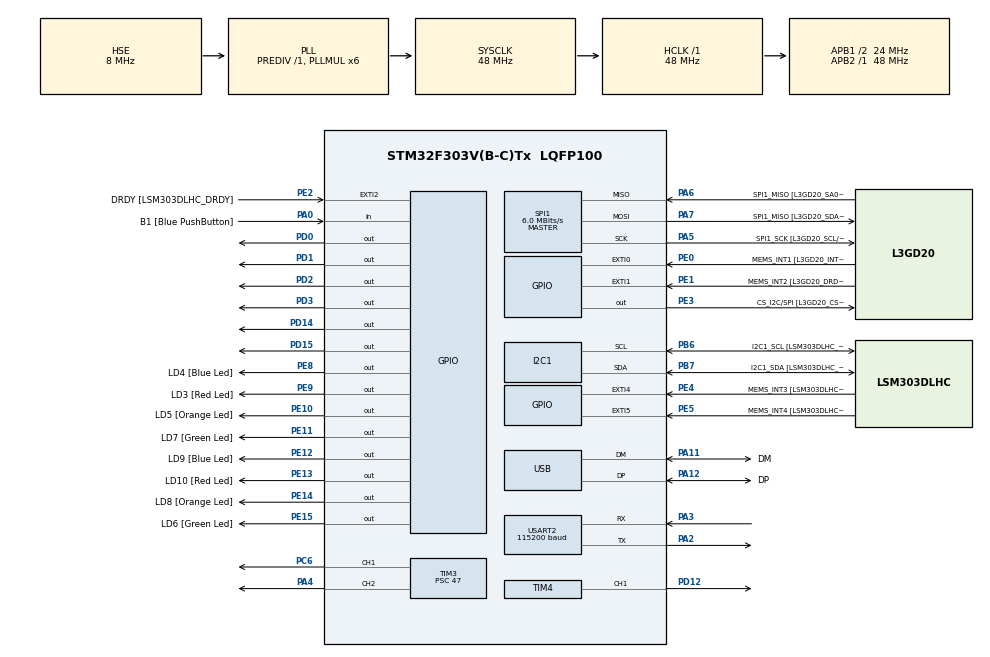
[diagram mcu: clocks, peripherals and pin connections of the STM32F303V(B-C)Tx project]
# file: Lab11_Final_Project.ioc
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I2C1.Timing=0x00201D2B
I2C1.Timing-I2C=0x2000090E
Mcu.Family=STM32F3
Mcu.Name=STM32F303V(B-C)Tx
Mcu.Package=LQFP100
NVIC.PriorityGroup=NVIC_PRIORITYGROUP_0
NVIC.TIM2_IRQn=true\:0\:0\:false\:false\:true\:true\:true\:true
NVIC.TIM3_IRQn=true\:0\:0\:false\:false\:true\:true\:true\:true
PA0.GPIO_Label=B1 [Blue PushButton]
PA0.Signal=GPIO_Input
PA11.GPIO_Label=DM
PA11.Mode=Device
PA11.Signal=USB_DM
PA12.GPIO_Label=DP
PA12.Mode=Device
PA12.Signal=USB_DP
PA13.GPIO_Label=SWDIO
PA13.Mode=Serial_Wire
PA13.Signal=SYS_JTMS-SWDIO
PA14.GPIO_Label=SWCLK
PA14.Mode=Serial_Wire
PA14.Signal=SYS_JTCK-SWCLK
PA2.Mode=Asynchronous
PA2.Signal=USART2_TX
PA3.Mode=Asynchronous
PA3.Signal=USART2_RX
PA4.Signal=S_TIM3_CH2
PA5.GPIO_Label=SPI1_SCK [L3GD20_SCL/SPC]
PA5.Mode=Full_Duplex_Master
PA5.Signal=SPI1_SCK
PA6.GPIO_Label=SPI1_MISO [L3GD20_SA0/SDO]
PA6.Mode=Full_Duplex_Master
PA6.Signal=SPI1_MISO
PA7.GPIO_Label=SPI1_MISO [L3GD20_SDA/SDI/SDO]
PA7.Mode=Full_Duplex_Master
PA7.Signal=SPI1_MOSI
PB3.GPIO_Label=SWO
PB3.Signal=SYS_JTDO-TRACESWO
PB6.GPIO_Label=I2C1_SCL [LSM303DLHC_SCL]
PB6.GPIO_Pu=GPIO_PULLUP
PB6.Mode=I2C
PB6.Signal=I2C1_SCL
PB7.GPIO_Label=I2C1_SDA [LSM303DLHC_SDA]
PB7.GPIO_Pu=GPIO_PULLUP
PB7.Mode=I2C
PB7.Signal=I2C1_SDA
PC14-OSC32_IN.GPIO_Label=OSC32_IN
PC14-OSC32_IN.Signal=RCC_OSC32_IN
PC15-OSC32_OUT.GPIO_Label=OSC32_OUT
PC15-OSC32_OUT.Signal=RCC_OSC32_OUT
PC6.Signal=S_TIM3_CH1
PD0.Signal=GPIO_Output
PD1.Signal=GPIO_Output
PD12.Signal=S_TIM4_CH1
PD14.Signal=GPIO_Output
PD15.Signal=GPIO_Output
PD2.Signal=GPIO_Output
PD3.Signal=GPIO_Output
PE0.GPIO_Label=MEMS_INT1 [L3GD20_INT1]
PE0.GPIO_ModeDefaultEXTI=GPIO_MODE_EVT_RISING
PE0.Signal=GPXTI0
PE1.GPIO_Label=MEMS_INT2 [L3GD20_DRDY/INT2]
PE1.GPIO_ModeDefaultEXTI=GPIO_MODE_EVT_RISING
PE1.Signal=GPXTI1
PE10.GPIO_Label=LD5 [Orange Led]
PE10.Signal=GPIO_Output
PE11.GPIO_Label=LD7 [Green Led]
PE11.Signal=GPIO_Output
PE12.GPIO_Label=LD9 [Blue Led]
PE12.Signal=GPIO_Output
PE13.GPIO_Label=LD10 [Red Led]
PE13.Signal=GPIO_Output
PE14.GPIO_Label=LD8 [Orange Led]
PE14.Signal=GPIO_Output
PE15.GPIO_Label=LD6 [Green Led]
PE15.Signal=GPIO_Output
PE2.GPIO_Label=DRDY [LSM303DLHC_DRDY]
PE2.GPIO_ModeDefaultEXTI=GPIO_MODE_EVT_RISING
PE2.Signal=GPXTI2
PE3.GPIO_Label=CS_I2C/SPI [L3GD20_CS_I2C/SPI]
PE3.Signal=GPIO_Output
PE4.GPIO_Label=MEMS_INT3 [LSM303DLHC_INT1]
PE4.GPIO_ModeDefaultEXTI=GPIO_MODE_EVT_RISING
PE4.Signal=GPXTI4
PE5.GPIO_Label=MEMS_INT4 [LSM303DLHC_INT2]
PE5.GPIO_ModeDefaultEXTI=GPIO_MODE_EVT_RISING
PE5.Signal=GPXTI5
PE8.GPIO_Label=LD4 [Blue Led]
PE8.Signal=GPIO_Output
PE9.GPIO_Label=LD3 [Red Led]
PE9.Signal=GPIO_Output
PF0-OSC_IN.GPIO_Label=OSC_IN
PF0-OSC_IN.Mode=HSE-External-Clock-Source
PF0-OSC_IN.Signal=RCC_OSC_IN
PF1-OSC_OUT.GPIO_Label=OSC_OUT
PF1-OSC_OUT.Signal=RCC_OSC_OUT
ProjectManager.HeapSize=0x200
ProjectManager.StackSize=0x400
ProjectManager.TargetToolchain=CMake
RCC.AHBFreq_Value=48000000
RCC.APB1CLKDivider=RCC_HCLK_DIV2
RCC.APB1Freq_Value=24000000
RCC.APB1TimFreq_Value=48000000
RCC.APB2Freq_Value=48000000
RCC.APB2TimFreq_Value=48000000
RCC.CortexFreq_Value=48000000
RCC.HCLKFreq_Value=48000000
RCC.HSE_VALUE=8000000
RCC.HSI_VALUE=8000000
RCC.LSE_VALUE=32768
RCC.PLLMUL=RCC_PLL_MUL6
RCC.SYSCLKFreq_VALUE=48000000
RCC.SYSCLKSourceVirtual=RCC_SYSCLKSOURCE_PLLCLK
RCC.USBFreq_Value=48000000
SH.S_TIM3_CH1.0=TIM3_CH1,PWM Generation1 CH1
SH.S_TIM3_CH2.0=TIM3_CH2,PWM Generation2 CH2
SH.S_TIM4_CH1.0=TIM4_CH1,PWM Generation1 CH1
SPI1.BaudRatePrescaler=SPI_BAUDRATEPRESCALER_8
SPI1.BaudRatePrescaler-Full_Duplex_Master=SPI_BAUDRATEPRESCALER_2
SPI1.CLKPhase=SPI_PHASE_2EDGE
SPI1.CLKPolarity=SPI_POLARITY_HIGH
SPI1.CalculateBaudRate=6.0 MBits/s
SPI1.CalculateBaudRate-Full_Duplex_Master=24.0 MBits/s
SPI1.DataSize=SPI_DATASIZE_8BIT
SPI1.Direction=SPI_DIRECTION_2LINES
SPI1.Mode=SPI_MODE_MASTER
SPI1.Mode-Full_Duplex_Master=SPI_MODE_MASTER
SPI1.VirtualType=VM_MASTER
TIM2.AutoReloadPreload=TIM_AUTORELOAD_PRELOAD_ENABLE
TIM2.Period=9999
TIM2.Prescaler=47
TIM3.Channel-PWM\ Generation1\ CH1=TIM_CHANNEL_1
TIM3.Channel-PWM\ Generation2\ CH2=TIM_CHANNEL_2
TIM3.Period=999
TIM3.Prescaler=47
TIM4.Channel-PWM\ Generation1\ CH1=TIM_CHANNEL_1
TIM4.Prescaler=720
USART2.BaudRate=115200
USART2.VirtualMode-Asynchronous=VM_ASYNC
VP_TIM2_VS_ClockSourceINT.Mode=Internal
VP_TIM3_VS_ClockSourceINT.Mode=Internal
board=STM32F3DISCOVERY

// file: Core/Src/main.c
/* USER CODE BEGIN Header */
/**
  ******************************************************************************
  * @file           : main.c
  * @brief          : Main program body
  ******************************************************************************
  * @attention
  *
  * Copyright (c) 2026 STMicroelectronics.
  * All rights reserved.
  *
  * This software is licensed under terms that can be found in the LICENSE file
  * in the root directory of this software component.
  * If no LICENSE file comes with this software, it is provided AS-IS.
  *
  ******************************************************************************
  */
/* USER CODE END Header */
#include "main.h"

/* USER CODE BEGIN Includes */
#include "stdio.h"
#include "string.h"
#include <math.h>
/* USER CODE END Includes */

/* USER CODE BEGIN PD */
#define LSM303_ACC_ADDR (0x19 << 1) // 0x32
#define LSM303_CTRL_REG1_A 0x20
#define LSM303_CTRL_REG4_A 0x23
#define LSM303_OUT_X_L_A 0x28

#define L3GD20_CTRL_REG1 0x20
#define L3GD20_CTRL_REG4 0x23
#define L3GD20_OUT_X_L 0x28
/* USER CODE END PD */

I2C_HandleTypeDef hi2c1;

SPI_HandleTypeDef hspi1;

TIM_HandleTypeDef htim2;
TIM_HandleTypeDef htim3;
TIM_HandleTypeDef htim4;

UART_HandleTypeDef huart2;

PCD_HandleTypeDef hpcd_USB_FS;

void SystemClock_Config(void);
static void MX_GPIO_Init(void);
static void MX_I2C1_Init(void);
static void MX_SPI1_Init(void);
static void MX_USB_PCD_Init(void);
static void MX_TIM2_Init(void);
static void MX_TIM3_Init(void);
static void MX_TIM4_Init(void);
static void MX_USART2_UART_Init(void);
float Kalman_GetAngle(float newAngle, float newRate, float dt);

/* USER CODE BEGIN 0 */

// Task 2
float Kp = 40.0f;
float Ki = 0.08f;
float Kd = 0.25f;

float setpoint = 0.0f;
float error, last_error, integral;
float pid_output;

// Task 1
typedef struct {
  int16_t ax, ay, az; // accelerometer raw data
  int16_t gx, gy, gz; // gyroscope raw data
  float acc_offset_x;
  float acc_offset_z;
} IMU_Data_t;

IMU_Data_t imu_data;

float gyro_bias_y = 0.0f;
float angle = 0.0f;
float dt = 0.01f;
float alpha = 0.98f;
float smooth_accel_angle = 0.0f;
float last_derivative = 0.0f;
float derivative_alpha = 0.9f;
float filtered_derivative = 0.0f;

// Kalman Filter Variables
// float Q_angle = 0.001f;   // Process noise variance for the angle
// float Q_bias = 0.003f;    // Process noise variance for the gyro bias
// float R_measure = 0.03f;  // Measurement noise variance (trust in accelerometer)

// float k_angle = 0.0f;     // Calculated angle
// float k_bias = 0.0f;      // Calculated gyro bias

float P[2][2] = {{0, 0}, {0, 0}};

void LSM303_WriteReg(uint8_t reg, uint8_t value) {
  uint8_t data[2] = {reg, value};
  HAL_I2C_Master_Transmit(&hi2c1, LSM303_ACC_ADDR, data, 2, 100);
}

void LSM303_ReadRegs(uint8_t reg, uint8_t* buffer, uint8_t len) {
  if (HAL_I2C_Master_Transmit(&hi2c1, LSM303_ACC_ADDR, &reg, 1, 100) != HAL_OK) return;
  HAL_I2C_Master_Receive(&hi2c1, LSM303_ACC_ADDR, buffer, len, 100);
}

void L3GD20_WriteReg(uint8_t reg, uint8_t value) {
  uint8_t data[2] = {reg, value};
  HAL_GPIO_WritePin(GPIOE, GPIO_PIN_3, GPIO_PIN_RESET);
  HAL_SPI_Transmit(&hspi1, data, 2, 100);
  HAL_GPIO_WritePin(GPIOE, GPIO_PIN_3, GPIO_PIN_SET);
}

void IMU_Read(IMU_Data_t* data) {
  uint8_t buffer[6];
  LSM303_ReadRegs(LSM303_OUT_X_L_A | 0x80, buffer, 6);
  data->ax = (int16_t)(buffer[1] << 8 | buffer[0]);
  data->ay = (int16_t)(buffer[3] << 8 | buffer[2]);
  data->az = (int16_t)(buffer[5] << 8 | buffer[4]);

  uint8_t reg = L3GD20_OUT_X_L | 0x80 | 0x40;
  HAL_GPIO_WritePin(GPIOE, GPIO_PIN_3, GPIO_PIN_RESET);
  HAL_SPI_Transmit(&hspi1, &reg, 1, 100);
  HAL_SPI_Receive(&hspi1, buffer, 6, 100);
  HAL_GPIO_WritePin(GPIOE, GPIO_PIN_3, GPIO_PIN_SET);
  data->gx = (int16_t)(buffer[1] << 8 | buffer[0]);
  data->gy = (int16_t)(buffer[3] << 8 | buffer[2]);
  data->gz = (int16_t)(buffer[5] << 8 | buffer[4]);
}

void IMU_Init(void) {
  // 1. Initialize Hardware Registers
  LSM303_WriteReg(LSM303_CTRL_REG1_A, 0x27);
  LSM303_WriteReg(LSM303_CTRL_REG4_A, 0x00);
  L3GD20_WriteReg(L3GD20_CTRL_REG1, 0x0F);
  L3GD20_WriteReg(L3GD20_CTRL_REG4, 0x00);

  HAL_Delay(500); // Let sensors settle

  // 2. Hardware Bias Calibration (Gyro & Accel Offsets)
  int32_t total_gx = 0;
  float sumX = 0, sumZ = 0;
  IMU_Data_t temp;

  for(int i = 0; i < 500; i++) {
    IMU_Read(&temp);
    total_gx += temp.gx;
    sumX += (float)temp.ax;
    sumZ += (float)temp.az;
    HAL_Delay(2);
  }

  gyro_bias_y = (float)total_gx / 500.0f;
  imu_data.acc_offset_x = (sumX / 500.0f);
  imu_data.acc_offset_z = (sumZ / 500.0f);

  // 3. Setpoint Sampling Phase
  // IMPORTANT: The user must hold the robot at the perfect balance point NOW.
  float total_angle = 0.0f;
  float current_angle = 0.0f;
  int sample_count = 500; // Sample for ~1 second

  for(int i = 0; i < sample_count; i++) {
    IMU_Read(&temp);

    // Calculate instantaneous angle using the same math as your ISR
    float gyro_rate = ((float)temp.gy - gyro_bias_y) * 0.00875f;
    float accX_g = ((float)temp.ax - imu_data.acc_offset_x) / 16384.0f;
    float accZ_g = ((float)temp.az - imu_data.acc_offset_z) / 16384.0f;
    float accel_angle = atan2f(accX_g, accZ_g) * 57.2958f;

    // Complementary Filter
    current_angle = alpha * (current_angle + gyro_rate * dt) + (1.0f - alpha) * accel_angle;

    total_angle += current_angle;
    HAL_Delay(2); // Match your dt roughly
  }

  setpoint = total_angle / (float)sample_count;

  // Initialize the global angle to the setpoint to prevent a jump at start
  angle = setpoint;
}

// Task 2
#define MOTOR_MIN 60
#define MOTOR_MAX 999
#define DEADBAND 0.4

void Control_Motors(float output) {
  float final_output = output;

  // Optimized Soft Deadzone
  if (fabsf(final_output) > 0.1f) {
      if (final_output > 0) final_output += MOTOR_MIN;
      else if (final_output < 0) final_output -= MOTOR_MIN;
  } else {
      final_output = 0;
  }

  // Constrain
  if (final_output > MOTOR_MAX) final_output = MOTOR_MAX;
  if (final_output < -MOTOR_MAX) final_output = -MOTOR_MAX;

  uint32_t pwm_val = (uint32_t)fabsf(final_output);
  __HAL_TIM_SET_COMPARE(&htim3, TIM_CHANNEL_1, pwm_val);
  __HAL_TIM_SET_COMPARE(&htim3, TIM_CHANNEL_2, pwm_val);

  // Direction Logic
  if (final_output >= 0) {
    HAL_GPIO_WritePin(GPIOD, GPIO_PIN_0, GPIO_PIN_RESET);
    HAL_GPIO_WritePin(GPIOD, GPIO_PIN_1, GPIO_PIN_SET);
    HAL_GPIO_WritePin(GPIOD, GPIO_PIN_2, GPIO_PIN_SET);
    HAL_GPIO_WritePin(GPIOD, GPIO_PIN_3, GPIO_PIN_RESET);
  } else {
    HAL_GPIO_WritePin(GPIOD, GPIO_PIN_0, GPIO_PIN_SET);
    HAL_GPIO_WritePin(GPIOD, GPIO_PIN_1, GPIO_PIN_RESET);
    HAL_GPIO_WritePin(GPIOD, GPIO_PIN_2, GPIO_PIN_RESET);
    HAL_GPIO_WritePin(GPIOD, GPIO_PIN_3, GPIO_PIN_SET);
  }
}

void HAL_TIM_PeriodElapsedCallback(TIM_HandleTypeDef* htim) {
  if (htim->Instance == TIM2) {
    IMU_Read(&imu_data);

    float gyro_rate = ((float)imu_data.gy - gyro_bias_y) * 0.00875f;
    float accX_g = ((float)imu_data.ax - imu_data.acc_offset_x) / 16384.0f;
    float accZ_g = ((float)imu_data.az - imu_data.acc_offset_z) / 16384.0f;
    float accel_angle = atan2f(accX_g, accZ_g) * 57.2958f;

    angle = alpha * (angle + gyro_rate * dt) + (1.0f - alpha) * accel_angle; // Complementary Filter
    // angle = Kalman_GetAngle(accel_angle, gyro_rate, dt); // Kalman Filter, checks every ms to either trust on Gyroscope or Accelerometer

    // Safety Fall-over Stop
    if (fabsf(angle) > 45.0f) {
      Control_Motors(0);
      integral = 0;
      return;
    }

    /* --- PID Calculation --- */
    error = setpoint - angle;

    // 1. Center Deadband (Stops the tiny jitters)
    if (fabsf(error) < DEADBAND) {
        error = 0;
        integral = 0;
    }

    // 2. Integral with anti-windup
    if (fabsf(error) < 5.0f && error != 0) {
        integral += error * dt;
    } else {
        integral = 0;
    }
    if (integral > 100.0f) integral = 100.0f;
    if (integral < -100.0f) integral = -100.0f;

    // 3. Smoothed Derivative
    float raw_derivative = (error - last_error) / dt;
    filtered_derivative = (derivative_alpha * last_derivative) + ((1.0f - derivative_alpha) * raw_derivative);

    pid_output = (Kp * error) + (Ki * integral) + (Kd * filtered_derivative);

    last_error = error;
    last_derivative = filtered_derivative;
    Control_Motors(pid_output);

    // char buffer[64];

    // int len = sprintf(buffer, "%.2f, %.2f, %.2f\r\n", angle, accel_angle, gyro_rate);
    // HAL_UART_Transmit(&huart2, (uint8_t*)buffer, len, 10);
  }
}

// float Kalman_GetAngle(float newAngle, float newRate, float dt) {
//     // Step 1: Predict
//     float rate = newRate - k_bias;
//     k_angle += dt * rate;

//     P[0][0] += dt * (dt * P[1][1] - P[0][1] - P[1][0] + Q_angle);
//     P[0][1] -= dt * P[1][1];
//     P[1][0] -= dt * P[1][1];
//     P[1][1] += Q_bias * dt;

//     // Step 2: Update (Correction)
//     float S = P[0][0] + R_measure;
//     float K[2]; // Kalman gain
//     K[0] = P[0][0] / S;
//     K[1] = P[1][0] / S;

//     float y = newAngle - k_angle; // Angle difference
//     k_angle += K[0] * y;
//     k_bias  += K[1] * y;

//     float P00_temp = P[0][0];
//     float P01_temp = P[0][1];

//     P[0][0] -= K[0] * P00_temp;
//     P[0][1] -= K[0] * P01_temp;
//     P[1][0] -= K[1] * P00_temp;
//     P[1][1] -= K[1] * P01_temp;

//     return k_angle;
// }

/* USER CODE END 0 */

int main(void)
{

  /* MCU Configuration--------------------------------------------------------*/

  /* Reset of all peripherals, Initializes the Flash interface and the Systick. */
  HAL_Init();

  /* Configure the system clock */
  SystemClock_Config();

  /* Initialize all configured peripherals */
  MX_GPIO_Init();
  MX_I2C1_Init();
  MX_SPI1_Init();
  MX_USB_PCD_Init();
  MX_TIM2_Init();
  MX_TIM3_Init();
  MX_TIM4_Init();
  MX_USART2_UART_Init();
  /* USER CODE BEGIN 2 */
  IMU_Init();

  /* Start timer interrupt */
  HAL_TIM_PWM_Start(&htim3, TIM_CHANNEL_1);
  HAL_TIM_PWM_Start(&htim3, TIM_CHANNEL_2);

  HAL_TIM_Base_Start_IT(&htim2);
  /* USER CODE END 2 */

  /* Infinite loop */
  while (1)
  {

  }
}

void SystemClock_Config(void)
{
  RCC_OscInitTypeDef RCC_OscInitStruct = {0};
  RCC_ClkInitTypeDef RCC_ClkInitStruct = {0};
  RCC_PeriphCLKInitTypeDef PeriphClkInit = {0};

  /** Initializes the RCC Oscillators according to the specified parameters
  * in the RCC_OscInitTypeDef structure.
  */
  RCC_OscInitStruct.OscillatorType = RCC_OSCILLATORTYPE_HSI|RCC_OSCILLATORTYPE_HSE;
  RCC_OscInitStruct.HSEState = RCC_HSE_BYPASS;
  RCC_OscInitStruct.HSEPredivValue = RCC_HSE_PREDIV_DIV1;
  RCC_OscInitStruct.HSIState = RCC_HSI_ON;
  RCC_OscInitStruct.HSICalibrationValue = RCC_HSICALIBRATION_DEFAULT;
  RCC_OscInitStruct.PLL.PLLState = RCC_PLL_ON;
  RCC_OscInitStruct.PLL.PLLSource = RCC_PLLSOURCE_HSE;
  RCC_OscInitStruct.PLL.PLLMUL = RCC_PLL_MUL6;
  if (HAL_RCC_OscConfig(&RCC_OscInitStruct) != HAL_OK)
  {
    Error_Handler();
  }

  /** Initializes the CPU, AHB and APB buses clocks
  */
  RCC_ClkInitStruct.ClockType = RCC_CLOCKTYPE_HCLK|RCC_CLOCKTYPE_SYSCLK
                              |RCC_CLOCKTYPE_PCLK1|RCC_CLOCKTYPE_PCLK2;
  RCC_ClkInitStruct.SYSCLKSource = RCC_SYSCLKSOURCE_PLLCLK;
  RCC_ClkInitStruct.AHBCLKDivider = RCC_SYSCLK_DIV1;
  RCC_ClkInitStruct.APB1CLKDivider = RCC_HCLK_DIV2;
  RCC_ClkInitStruct.APB2CLKDivider = RCC_HCLK_DIV1;

  if (HAL_RCC_ClockConfig(&RCC_ClkInitStruct, FLASH_LATENCY_1) != HAL_OK)
  {
    Error_Handler();
  }
  PeriphClkInit.PeriphClockSelection = RCC_PERIPHCLK_USB|RCC_PERIPHCLK_USART2
                              |RCC_PERIPHCLK_I2C1;
  PeriphClkInit.Usart2ClockSelection = RCC_USART2CLKSOURCE_PCLK1;
  PeriphClkInit.I2c1ClockSelection = RCC_I2C1CLKSOURCE_HSI;
  PeriphClkInit.USBClockSelection = RCC_USBCLKSOURCE_PLL;
  if (HAL_RCCEx_PeriphCLKConfig(&PeriphClkInit) != HAL_OK)
  {
    Error_Handler();
  }
}

static void MX_I2C1_Init(void)
{

  hi2c1.Instance = I2C1;
  hi2c1.Init.Timing = 0x00201D2B;
  hi2c1.Init.OwnAddress1 = 0;
  hi2c1.Init.AddressingMode = I2C_ADDRESSINGMODE_7BIT;
  hi2c1.Init.DualAddressMode = I2C_DUALADDRESS_DISABLE;
  hi2c1.Init.OwnAddress2 = 0;
  hi2c1.Init.OwnAddress2Masks = I2C_OA2_NOMASK;
  hi2c1.Init.GeneralCallMode = I2C_GENERALCALL_DISABLE;
  hi2c1.Init.NoStretchMode = I2C_NOSTRETCH_DISABLE;
  if (HAL_I2C_Init(&hi2c1) != HAL_OK)
  {
    Error_Handler();
  }

  /** Configure Analogue filter
  */
  if (HAL_I2CEx_ConfigAnalogFilter(&hi2c1, I2C_ANALOGFILTER_ENABLE) != HAL_OK)
  {
    Error_Handler();
  }

  /** Configure Digital filter
  */
  if (HAL_I2CEx_ConfigDigitalFilter(&hi2c1, 0) != HAL_OK)
  {
    Error_Handler();
  }

}

static void MX_SPI1_Init(void)
{

  /* SPI1 parameter configuration*/
  hspi1.Instance = SPI1;
  hspi1.Init.Mode = SPI_MODE_MASTER;
  hspi1.Init.Direction = SPI_DIRECTION_2LINES;
  hspi1.Init.DataSize = SPI_DATASIZE_8BIT;
  hspi1.Init.CLKPolarity = SPI_POLARITY_HIGH;
  hspi1.Init.CLKPhase = SPI_PHASE_2EDGE;
  hspi1.Init.NSS = SPI_NSS_SOFT;
  hspi1.Init.BaudRatePrescaler = SPI_BAUDRATEPRESCALER_8;
  hspi1.Init.FirstBit = SPI_FIRSTBIT_MSB;
  hspi1.Init.TIMode = SPI_TIMODE_DISABLE;
  hspi1.Init.CRCCalculation = SPI_CRCCALCULATION_DISABLE;
  hspi1.Init.CRCPolynomial = 7;
  hspi1.Init.CRCLength = SPI_CRC_LENGTH_DATASIZE;
  hspi1.Init.NSSPMode = SPI_NSS_PULSE_DISABLE;
  if (HAL_SPI_Init(&hspi1) != HAL_OK)
  {
    Error_Handler();
  }

}

static void MX_TIM2_Init(void)
{

  TIM_ClockConfigTypeDef sClockSourceConfig = {0};
  TIM_MasterConfigTypeDef sMasterConfig = {0};

  htim2.Instance = TIM2;
  htim2.Init.Prescaler = 47;
  htim2.Init.CounterMode = TIM_COUNTERMODE_UP;
  htim2.Init.Period = 9999;
  htim2.Init.ClockDivision = TIM_CLOCKDIVISION_DIV1;
  htim2.Init.AutoReloadPreload = TIM_AUTORELOAD_PRELOAD_ENABLE;
  if (HAL_TIM_Base_Init(&htim2) != HAL_OK)
  {
    Error_Handler();
  }
  sClockSourceConfig.ClockSource = TIM_CLOCKSOURCE_INTERNAL;
  if (HAL_TIM_ConfigClockSource(&htim2, &sClockSourceConfig) != HAL_OK)
  {
    Error_Handler();
  }
  sMasterConfig.MasterOutputTrigger = TIM_TRGO_RESET;
  sMasterConfig.MasterSlaveMode = TIM_MASTERSLAVEMODE_DISABLE;
  if (HAL_TIMEx_MasterConfigSynchronization(&htim2, &sMasterConfig) != HAL_OK)
  {
    Error_Handler();
  }

}

static void MX_TIM3_Init(void)
{

  TIM_ClockConfigTypeDef sClockSourceConfig = {0};
  TIM_MasterConfigTypeDef sMasterConfig = {0};
  TIM_OC_InitTypeDef sConfigOC = {0};

  htim3.Instance = TIM3;
  htim3.Init.Prescaler = 47;
  htim3.Init.CounterMode = TIM_COUNTERMODE_UP;
  htim3.Init.Period = 999;
  htim3.Init.ClockDivision = TIM_CLOCKDIVISION_DIV1;
  htim3.Init.AutoReloadPreload = TIM_AUTORELOAD_PRELOAD_DISABLE;
  if (HAL_TIM_Base_Init(&htim3) != HAL_OK)
  {
    Error_Handler();
  }
  sClockSourceConfig.ClockSource = TIM_CLOCKSOURCE_INTERNAL;
  if (HAL_TIM_ConfigClockSource(&htim3, &sClockSourceConfig) != HAL_OK)
  {
    Error_Handler();
  }
  if (HAL_TIM_PWM_Init(&htim3) != HAL_OK)
  {
    Error_Handler();
  }
  sMasterConfig.MasterOutputTrigger = TIM_TRGO_RESET;
  sMasterConfig.MasterSlaveMode = TIM_MASTERSLAVEMODE_DISABLE;
  if (HAL_TIMEx_MasterConfigSynchronization(&htim3, &sMasterConfig) != HAL_OK)
  {
    Error_Handler();
  }
  sConfigOC.OCMode = TIM_OCMODE_PWM1;
  sConfigOC.Pulse = 0;
  sConfigOC.OCPolarity = TIM_OCPOLARITY_HIGH;
  sConfigOC.OCFastMode = TIM_OCFAST_DISABLE;
  if (HAL_TIM_PWM_ConfigChannel(&htim3, &sConfigOC, TIM_CHANNEL_1) != HAL_OK)
  {
    Error_Handler();
  }
  if (HAL_TIM_PWM_ConfigChannel(&htim3, &sConfigOC, TIM_CHANNEL_2) != HAL_OK)
  {
    Error_Handler();
  }
  HAL_TIM_MspPostInit(&htim3);

}

static void MX_TIM4_Init(void)
{

  TIM_MasterConfigTypeDef sMasterConfig = {0};
  TIM_OC_InitTypeDef sConfigOC = {0};

  htim4.Instance = TIM4;
  htim4.Init.Prescaler = 720;
  htim4.Init.CounterMode = TIM_COUNTERMODE_UP;
  htim4.Init.Period = 65535;
  htim4.Init.ClockDivision = TIM_CLOCKDIVISION_DIV1;
  htim4.Init.AutoReloadPreload = TIM_AUTORELOAD_PRELOAD_DISABLE;
  if (HAL_TIM_PWM_Init(&htim4) != HAL_OK)
  {
    Error_Handler();
  }
  sMasterConfig.MasterOutputTrigger = TIM_TRGO_RESET;
  sMasterConfig.MasterSlaveMode = TIM_MASTERSLAVEMODE_DISABLE;
  if (HAL_TIMEx_MasterConfigSynchronization(&htim4, &sMasterConfig) != HAL_OK)
  {
    Error_Handler();
  }
  sConfigOC.OCMode = TIM_OCMODE_PWM1;
  sConfigOC.Pulse = 0;
  sConfigOC.OCPolarity = TIM_OCPOLARITY_HIGH;
  sConfigOC.OCFastMode = TIM_OCFAST_DISABLE;
  if (HAL_TIM_PWM_ConfigChannel(&htim4, &sConfigOC, TIM_CHANNEL_1) != HAL_OK)
  {
    Error_Handler();
  }
  HAL_TIM_MspPostInit(&htim4);

}

static void MX_USART2_UART_Init(void)
{

  huart2.Instance = USART2;
  huart2.Init.BaudRate = 115200;
  huart2.Init.WordLength = UART_WORDLENGTH_8B;
  huart2.Init.StopBits = UART_STOPBITS_1;
  huart2.Init.Parity = UART_PARITY_NONE;
  huart2.Init.Mode = UART_MODE_TX_RX;
  huart2.Init.HwFlowCtl = UART_HWCONTROL_NONE;
  huart2.Init.OverSampling = UART_OVERSAMPLING_16;
  huart2.Init.OneBitSampling = UART_ONE_BIT_SAMPLE_DISABLE;
  huart2.AdvancedInit.AdvFeatureInit = UART_ADVFEATURE_NO_INIT;
  if (HAL_UART_Init(&huart2) != HAL_OK)
  {
    Error_Handler();
  }

}

static void MX_USB_PCD_Init(void)
{

  hpcd_USB_FS.Instance = USB;
  hpcd_USB_FS.Init.dev_endpoints = 8;
  hpcd_USB_FS.Init.speed = PCD_SPEED_FULL;
  hpcd_USB_FS.Init.phy_itface = PCD_PHY_EMBEDDED;
  hpcd_USB_FS.Init.low_power_enable = DISABLE;
  hpcd_USB_FS.Init.battery_charging_enable = DISABLE;
  if (HAL_PCD_Init(&hpcd_USB_FS) != HAL_OK)
  {
    Error_Handler();
  }

}

static void MX_GPIO_Init(void)
{
  GPIO_InitTypeDef GPIO_InitStruct = {0};

  /* GPIO Ports Clock Enable */
  __HAL_RCC_GPIOE_CLK_ENABLE();
  __HAL_RCC_GPIOC_CLK_ENABLE();
  __HAL_RCC_GPIOF_CLK_ENABLE();
  __HAL_RCC_GPIOA_CLK_ENABLE();
  __HAL_RCC_GPIOD_CLK_ENABLE();
  __HAL_RCC_GPIOB_CLK_ENABLE();

  /*Configure GPIO pin Output Level */
  HAL_GPIO_WritePin(GPIOE, CS_I2C_SPI_Pin|LD4_Pin|LD3_Pin|LD5_Pin
                          |LD7_Pin|LD9_Pin|LD10_Pin|LD8_Pin
                          |LD6_Pin, GPIO_PIN_RESET);

  /*Configure GPIO pin Output Level */
  HAL_GPIO_WritePin(GPIOD, GPIO_PIN_14|GPIO_PIN_15|GPIO_PIN_0|GPIO_PIN_1
                          |GPIO_PIN_2|GPIO_PIN_3, GPIO_PIN_RESET);

  /*Configure GPIO pins : DRDY_Pin MEMS_INT3_Pin MEMS_INT4_Pin MEMS_INT1_Pin
                           MEMS_INT2_Pin */
  GPIO_InitStruct.Pin = DRDY_Pin|MEMS_INT3_Pin|MEMS_INT4_Pin|MEMS_INT1_Pin
                          |MEMS_INT2_Pin;
  GPIO_InitStruct.Mode = GPIO_MODE_EVT_RISING;
  GPIO_InitStruct.Pull = GPIO_NOPULL;
  HAL_GPIO_Init(GPIOE, &GPIO_InitStruct);

  /*Configure GPIO pins : CS_I2C_SPI_Pin LD4_Pin LD3_Pin LD5_Pin
                           LD7_Pin LD9_Pin LD10_Pin LD8_Pin
                           LD6_Pin */
  GPIO_InitStruct.Pin = CS_I2C_SPI_Pin|LD4_Pin|LD3_Pin|LD5_Pin
                          |LD7_Pin|LD9_Pin|LD10_Pin|LD8_Pin
                          |LD6_Pin;
  GPIO_InitStruct.Mode = GPIO_MODE_OUTPUT_PP;
  GPIO_InitStruct.Pull = GPIO_NOPULL;
  GPIO_InitStruct.Speed = GPIO_SPEED_FREQ_LOW;
  HAL_GPIO_Init(GPIOE, &GPIO_InitStruct);

  /*Configure GPIO pin : B1_Pin */
  GPIO_InitStruct.Pin = B1_Pin;
  GPIO_InitStruct.Mode = GPIO_MODE_INPUT;
  GPIO_InitStruct.Pull = GPIO_NOPULL;
  HAL_GPIO_Init(B1_GPIO_Port, &GPIO_InitStruct);

  /*Configure GPIO pins : PD14 PD15 PD0 PD1
                           PD2 PD3 */
  GPIO_InitStruct.Pin = GPIO_PIN_14|GPIO_PIN_15|GPIO_PIN_0|GPIO_PIN_1
                          |GPIO_PIN_2|GPIO_PIN_3;
  GPIO_InitStruct.Mode = GPIO_MODE_OUTPUT_PP;
  GPIO_InitStruct.Pull = GPIO_NOPULL;
  GPIO_InitStruct.Speed = GPIO_SPEED_FREQ_LOW;
  HAL_GPIO_Init(GPIOD, &GPIO_InitStruct);

}

void Error_Handler(void)
{
  __disable_irq();
  while (1)
  {
  }
}
